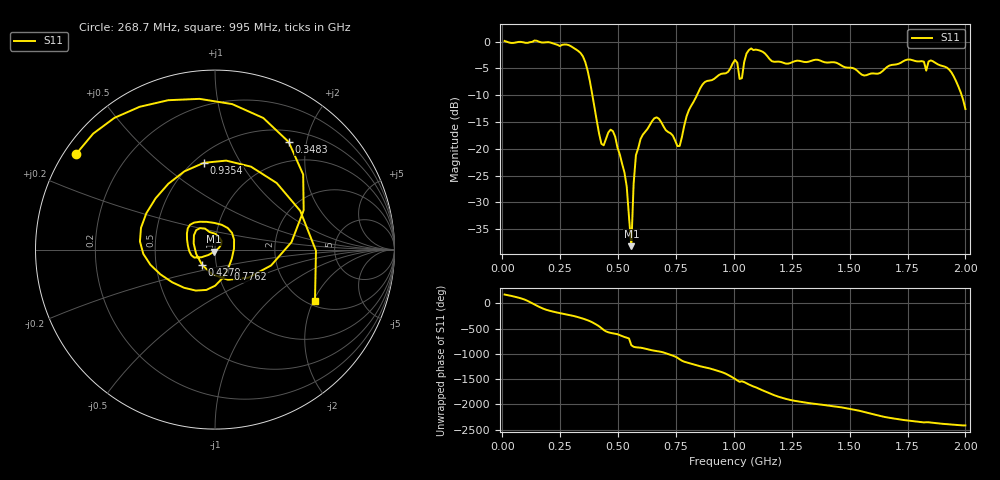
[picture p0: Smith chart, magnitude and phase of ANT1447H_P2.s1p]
!Created with skrf (http://scikit-rf.org).
# Hz S RI R 50.0
!freq ReS11 ImS11
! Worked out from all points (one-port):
!   201 points, 10 MHz to 2 GHz, reference 50 ohm
!   lowest |S11| = -38.2 dB at 557.2 MHz (marker M1), VSWR 1.02, Z = 49.6 - j1.15 ohm
!   |S11| at or under -10 dB: 389 MHz to 840.7 MHz (451.6 MHz wide, 73.5 % of centre); 1.984 GHz to end of sweep
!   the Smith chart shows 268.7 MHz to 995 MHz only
!   S11 on the Smith chart (normalised r, x): 268.7 MHz: 0.03, +0.31; 348.3 MHz: 0.67, +1.70; 427.9 MHz: 0.85, -0.15; 776.1 MHz: 1.13, -0.25; 935.4 MHz: 0.56, +0.71; 995 MHz: 2.19, -2.05
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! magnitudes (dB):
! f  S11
! 10 MHz  0.1
! 258.8 MHz  -0.6
! 268.7 MHz  -0.5
! 348.3 MHz  -2.8
! 427.9 MHz  -19.1
! 467.7 MHz  -16.4
! 507.5 MHz  -21.1
! 537.4 MHz  -27.0
! 557.2 MHz  -38.2
! 567.2 MHz  -26.5
! 577.1 MHz  -21.2
! 597 MHz  -18.2
! 666.7 MHz  -14.1
! 756.2 MHz  -19.5
! 776.1 MHz  -17.7
! 806 MHz  -12.8
! 855.8 MHz  -8.6
! 935.4 MHz  -6.2
! 995 MHz  -4.1
! 1.005 GHz  -3.4
! 1.025 GHz  -7.0
! 1.075 GHz  -1.3
! 1.254 GHz  -3.8
! 1.502 GHz  -4.9
! 1.622 GHz  -6.0
! 1.751 GHz  -3.3
! 1.93 GHz  -5.2
! 2 GHz  -12.6
